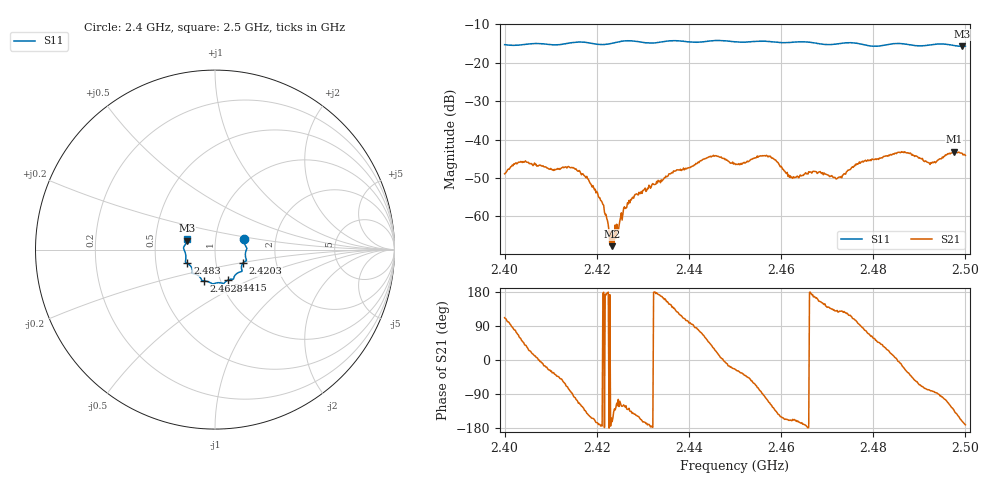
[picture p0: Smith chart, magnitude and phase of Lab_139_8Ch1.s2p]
# Hz S RI R 50
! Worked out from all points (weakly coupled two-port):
!   601 points, 2.4 GHz to 2.5 GHz, reference 50 ohm
!   highest |S21| = -43.13 dB at 2.4975 GHz (marker M1); lowest = -67.8 dB at 2.4233 GHz (marker M2)
!   lowest |S11| = -15.7 dB at 2.4993 GHz (marker M3), VSWR 1.39, Z = 36.4 + j3.68 ohm
!   |S11| at or under -10 dB: start of sweep to end of sweep
!   S12 and S22 are empty: the file has one direction only
!   S11 on the Smith chart (normalised r, x): 2.4 GHz: 1.38, +0.16; 2.4203 GHz: 1.35, -0.21; 2.4415 GHz: 1.09, -0.38; 2.4628 GHz: 0.83, -0.30; 2.483 GHz: 0.73, -0.11; 2.5 GHz: 0.73, +0.09
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2.4e9  0.1623 0.0565  -0.00132 0.00333  0 0  0 0
2.404e9  0.1709 0.019  0.00348 0.00382  0 0  0 0
2.416667e9  0.1752 -0.0619  -0.00182 -0.00296  0 0  0 0
2.420333e9  0.1562 -0.0748  -0.0018 -0.000308  0 0  0 0
2.423333e9  0.1476 -0.1017  -0.00039 -0.000121  0 0  0 0
2.427167e9  0.1501 -0.1213  -0.00105 -0.00107  0 0  0 0
2.433333e9  0.1084 -0.1479  -0.00292 0.00034  0 0  0 0
2.4415e9  0.0734 -0.1692  0.000399 0.00487  0 0  0 0
2.4455e9  0.0502 -0.1873  0.0053 0.00296  0 0  0 0
2.45e9  0.0296 -0.1847  0.00439 -0.00197  0 0  0 0
2.457167e9  -0.019 -0.1884  -0.00181 -0.00565  0 0  0 0
2.462833e9  -0.0623 -0.1744  -0.00292 -0.00124  0 0  0 0
2.466667e9  -0.0754 -0.1671  -0.00361 0.000502  0 0  0 0
2.472333e9  -0.1129 -0.1353  -0.00189 0.00255  0 0  0 0
2.477167e9  -0.1255 -0.123  -0.000123 0.0049  0 0  0 0
2.483e9  -0.1538 -0.0766  0.00548 0.00282  0 0  0 0
2.483333e9  -0.156 -0.0753  0.00565 0.00263  0 0  0 0
2.487333e9  -0.1634 -0.0579  0.00571 -0.00345  0 0  0 0
2.4925e9  -0.1712 -0.00341  0.000731 -0.00495  0 0  0 0
2.4975e9  -0.1652 0.0289  -0.00466 -0.00519  0 0  0 0
2.499333e9  -0.1559 0.0492  -0.00626 -0.00201  0 0  0 0
2.5e9  -0.1539 0.0577  -0.00613 -0.000954  0 0  0 0
